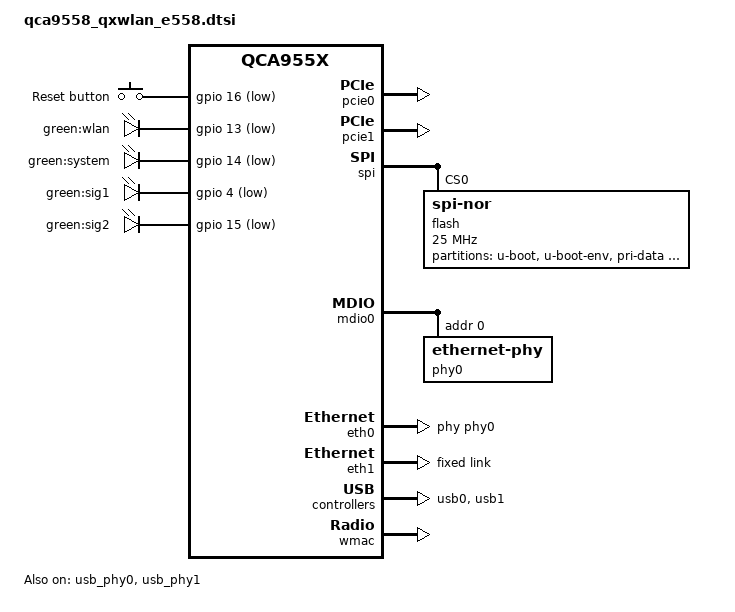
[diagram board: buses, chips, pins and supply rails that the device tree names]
// SPDX-License-Identifier: GPL-2.0-or-later OR MIT

#include "qca955x.dtsi"

#include <dt-bindings/gpio/gpio.h>
#include <dt-bindings/input/input.h>

/ {
	aliases {
		led-boot = &led_system;
		led-failsafe = &led_system;
		led-running = &led_system;
		led-upgrade = &led_system;
		label-mac-device = &eth0;
	};

	keys {
		compatible = "gpio-keys";

		reset {
			label = "Reset button";
			linux,code = <KEY_RESTART>;
			gpios = <&gpio 16 GPIO_ACTIVE_LOW>;
			debounce-interval = <60>;
		};
	};

	leds {
		compatible = "gpio-leds";

		wlan {
			label = "green:wlan";
			gpios = <&gpio 13 GPIO_ACTIVE_LOW>;
			linux,default-trigger = "phy0tpt";
		};

		led_system: system {
			label = "green:system";
			gpios = <&gpio 14 GPIO_ACTIVE_LOW>;
			default-state = "on";
		};

		sig1 {
			label = "green:sig1";
			gpios = <&gpio 4 GPIO_ACTIVE_LOW>;
		};

		sig2 {
			label = "green:sig2";
			gpios = <&gpio 15 GPIO_ACTIVE_LOW>;
		};
	};
};

&pcie0 {
	status = "okay";
};

&pcie1 {
	status = "okay";
};

&spi {
	status = "okay";

	flash@0 {
		compatible = "jedec,spi-nor";
		reg = <0>;
		spi-max-frequency = <25000000>;

		partitions: partitions {
			compatible = "fixed-partitions";
			#address-cells = <1>;
			#size-cells = <1>;

			partition@0 {
				label = "u-boot";
				reg = <0x000000 0x040000>;
				read-only;
			};

			partition@40000 {
				label = "u-boot-env";
				reg = <0x040000 0x010000>;
				read-only;
			};

			pridata: partition@50000 {
				label = "pri-data";
				reg = <0x050000 0x010000>;
				read-only;
			};

			art: partition@60000 {
				label = "art";
				reg = <0x060000 0x010000>;
				read-only;
			};
		};
	};
};

&mdio0 {
	status = "okay";

	phy0: ethernet-phy@0 {
		reg = <0>;

		qca,ar8327-initvals = <
			0x04 0x00080080 /* PORT0 PAD MODE CTRL */
			0x0c 0x07600000 /* PORT6 PAD MODE CTRL */
			0x10 0x81000080 /* POWER_ON_STRAP */
			0x50 0xcc35cc35 /* LED_CTRL0 */
			0x54 0xca35ca35 /* LED_CTRL1 */
			0x58 0xc935c935 /* LED_CTRL2 */
			0x5c 0x03ffff00 /* LED_CTRL3 */
			0x7c 0x0000007e /* PORT0_STATUS */
			0x94 0x0000007e /* PORT6 STATUS */
		>;
	};
};

&eth0 {
	status = "okay";

	pll-data = <0x56000000 0x00000101 0x00001616>;

	phy-handle = <&phy0>;

	nvmem-cells = <&macaddr_pridata_400>;
	nvmem-cell-names = "mac-address";
	mac-address-increment = <1>;
};

&eth1 {
	status = "okay";

	pll-data = <0x03000101 0x00000101 0x00001616>;

	nvmem-cells = <&macaddr_pridata_400>;
	nvmem-cell-names = "mac-address";

	fixed-link {
		speed = <1000>;
		full-duplex;
	};
};

&usb_phy0 {
	status = "okay";
};

&usb0 {
	status = "okay";
};

&usb_phy1 {
	status = "okay";
};

&usb1 {
	status = "okay";
};

&wmac {
	status = "okay";

	mtd-cal-data = <&art 0x1000>;
};

&pridata {
	compatible = "nvmem-cells";
	#address-cells = <1>;
	#size-cells = <1>;

	macaddr_pridata_400: macaddr@400 {
		reg = <0x400 0x6>;
	};
};
